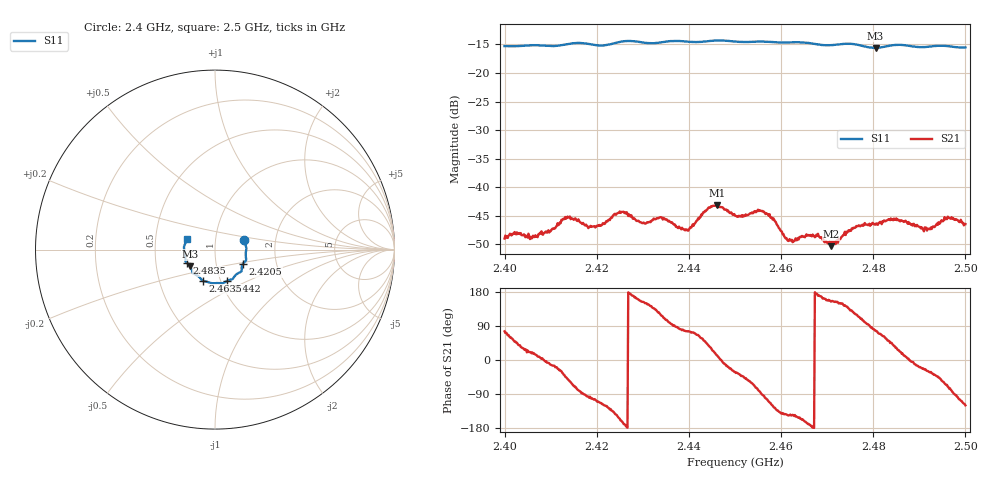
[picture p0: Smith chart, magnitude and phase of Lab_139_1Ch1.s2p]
# Hz S RI R 50
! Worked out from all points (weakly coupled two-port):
!   601 points, 2.4 GHz to 2.5 GHz, reference 50 ohm
!   highest |S21| = -43.10 dB at 2.4462 GHz (marker M1); lowest = -50.3 dB at 2.4708 GHz (marker M2)
!   lowest |S11| = -15.6 dB at 2.4805 GHz (marker M3), VSWR 1.40, Z = 37.3 - j7.11 ohm
!   |S11| at or under -10 dB: start of sweep to end of sweep
!   S12 and S22 are empty: the file has one direction only
!   S11 on the Smith chart (normalised r, x): 2.4 GHz: 1.38, +0.15; 2.4205 GHz: 1.35, -0.22; 2.442 GHz: 1.08, -0.39; 2.4635 GHz: 0.83, -0.30; 2.4835 GHz: 0.72, -0.11; 2.5 GHz: 0.72, +0.09
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2.4e9  0.1639 0.0519  0.000882 0.00345  0 0  0 0
2.406833e9  0.1748 0.00605  0.00359 0.000848  0 0  0 0
2.413667e9  0.1728 -0.0474  0.00356 -0.00424  0 0  0 0
2.416667e9  0.1721 -0.0624  0.00019 -0.00488  0 0  0 0
2.4205e9  0.1549 -0.0797  -0.00167 -0.00429  0 0  0 0
2.425333e9  0.1489 -0.1153  -0.00573 -0.00207  0 0  0 0
2.430167e9  0.1302 -0.1311  -0.00438 0.00223  0 0  0 0
2.433333e9  0.1092 -0.148  -0.0031 0.00436  0 0  0 0
2.4395e9  0.0865 -0.1674  0.00102 0.00409  0 0  0 0
2.442e9  0.0691 -0.1737  0.00217 0.00489  0 0  0 0
2.446167e9  0.0464 -0.1871  0.00686 0.00138  0 0  0 0
2.45e9  0.0265 -0.1867  0.0048 -0.00298  0 0  0 0
2.455833e9  -0.0142 -0.1879  -7.76e-05 -0.00618  0 0  0 0
2.461167e9  -0.0511 -0.1777  -0.00291 -0.00213  0 0  0 0
2.4635e9  -0.0656 -0.174  -0.00301 -0.00171  0 0  0 0
2.466667e9  -0.0776 -0.1642  -0.0037 -0.000379  0 0  0 0
2.470833e9  -0.103 -0.1418  -0.00275 0.00133  0 0  0 0
2.4805e9  -0.1377 -0.0926  0.000986 0.00462  0 0  0 0
2.483333e9  -0.1555 -0.0749  0.00333 0.00408  0 0  0 0
2.4835e9  -0.1565 -0.0744  0.00339 0.004  0 0  0 0
2.491167e9  -0.1678 -0.0169  0.00403 -0.0019  0 0  0 0
2.5e9  -0.1567 0.0593  -0.00235 -0.00415  0 0  0 0
